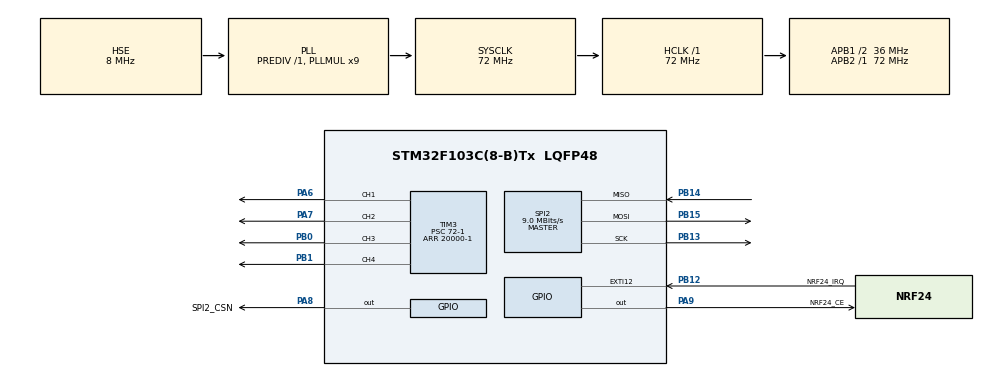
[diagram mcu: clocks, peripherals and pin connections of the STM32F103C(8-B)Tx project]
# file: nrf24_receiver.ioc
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Mcu.Family=STM32F1
Mcu.Name=STM32F103C(8-B)Tx
Mcu.Package=LQFP48
NVIC.EXTI15_10_IRQn=true\:0\:0\:false\:false\:true\:true\:true\:true
NVIC.PriorityGroup=NVIC_PRIORITYGROUP_4
NVIC.TIM2_IRQn=true\:0\:0\:false\:false\:true\:true\:true\:true
NVIC.TIM3_IRQn=true\:0\:0\:false\:false\:true\:true\:true\:true
PA13.Mode=Serial_Wire
PA13.Signal=SYS_JTMS-SWDIO
PA14.Mode=Serial_Wire
PA14.Signal=SYS_JTCK-SWCLK
PA6.Signal=S_TIM3_CH1
PA7.Signal=S_TIM3_CH2
PA8.GPIO_Label=SPI2_CSN
PA8.Signal=GPIO_Output
PA9.GPIO_Label=NRF24_CE
PA9.Signal=GPIO_Output
PB0.Signal=S_TIM3_CH3
PB1.Signal=S_TIM3_CH4
PB12.GPIO_Label=NRF24_IRQ
PB12.GPIO_ModeDefaultEXTI=GPIO_MODE_IT_FALLING
PB12.Signal=GPXTI12
PB13.Mode=Full_Duplex_Master
PB13.Signal=SPI2_SCK
PB14.Mode=Full_Duplex_Master
PB14.Signal=SPI2_MISO
PB15.Mode=Full_Duplex_Master
PB15.Signal=SPI2_MOSI
PD0-OSC_IN.Mode=HSE-External-Oscillator
PD0-OSC_IN.Signal=RCC_OSC_IN
PD1-OSC_OUT.Mode=HSE-External-Oscillator
PD1-OSC_OUT.Signal=RCC_OSC_OUT
ProjectManager.HeapSize=0x200
ProjectManager.StackSize=0x400
ProjectManager.TargetToolchain=STM32CubeIDE
RCC.AHBFreq_Value=72000000
RCC.APB1CLKDivider=RCC_HCLK_DIV2
RCC.APB1Freq_Value=36000000
RCC.APB1TimFreq_Value=72000000
RCC.APB2Freq_Value=72000000
RCC.APB2TimFreq_Value=72000000
RCC.HCLKFreq_Value=72000000
RCC.PLLMUL=RCC_PLL_MUL9
RCC.PLLSourceVirtual=RCC_PLLSOURCE_HSE
RCC.SYSCLKFreq_VALUE=72000000
RCC.SYSCLKSource=RCC_SYSCLKSOURCE_PLLCLK
RCC.USBFreq_Value=72000000
SH.S_TIM3_CH1.0=TIM3_CH1,PWM Generation1 CH1
SH.S_TIM3_CH2.0=TIM3_CH2,PWM Generation2 CH2
SH.S_TIM3_CH3.0=TIM3_CH3,PWM Generation3 CH3
SH.S_TIM3_CH4.0=TIM3_CH4,PWM Generation4 CH4
SPI2.BaudRatePrescaler=SPI_BAUDRATEPRESCALER_4
SPI2.CalculateBaudRate=9.0 MBits/s
SPI2.Direction=SPI_DIRECTION_2LINES
SPI2.Mode=SPI_MODE_MASTER
SPI2.VirtualType=VM_MASTER
TIM2.Period=4000-1
TIM2.Prescaler=72-1
TIM3.Channel-PWM\ Generation1\ CH1=TIM_CHANNEL_1
TIM3.Channel-PWM\ Generation2\ CH2=TIM_CHANNEL_2
TIM3.Channel-PWM\ Generation3\ CH3=TIM_CHANNEL_3
TIM3.Channel-PWM\ Generation4\ CH4=TIM_CHANNEL_4
TIM3.Period=20000-1
TIM3.Prescaler=72-1
VP_TIM2_VS_ClockSourceINT.Mode=Internal
board=custom

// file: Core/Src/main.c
/* USER CODE BEGIN Header */
/**
  ******************************************************************************
  * @file           : main.c
  * @brief          : Main program body
  ******************************************************************************
  * @attention
  *
  * Copyright (c) 2025 STMicroelectronics.
  * All rights reserved.
  *
  * This software is licensed under terms that can be found in the LICENSE file
  * in the root directory of this software component.
  * If no LICENSE file comes with this software, it is provided AS-IS.
  *
  ******************************************************************************
  */
/* USER CODE END Header */
#include "main.h"
#include "spi.h"
#include "tim.h"
#include "gpio.h"

/* USER CODE BEGIN Includes */
#include "nrf24.h"
/* USER CODE END Includes */

/* USER CODE BEGIN PV */
static uint8_t rxSerialized[32];
static uint32_t time;
static uint32_t lastTick;
static volatile uint32_t packets_received;
/* USER CODE END PV */

void SystemClock_Config(void);
/* USER CODE BEGIN PFP */
uint16_t ComputePulseWidth(uint16_t adcVal, uint16_t min, uint16_t max);
/* USER CODE END PFP */

int main(void)
{

  /* MCU Configuration--------------------------------------------------------*/

  /* Reset of all peripherals, Initializes the Flash interface and the Systick. */
  HAL_Init();

  /* Configure the system clock */
  SystemClock_Config();

  /* Initialize all configured peripherals */
  MX_GPIO_Init();
  MX_SPI2_Init();
  MX_TIM2_Init();
  MX_TIM3_Init();
  /* USER CODE BEGIN 2 */
  TIM3->CCR1 = 1500;
  TIM3->CCR2 = 1500;
  TIM3->CCR3 = 0;
  TIM3->CCR4 = 1500;
  HAL_TIM_PWM_Start(&htim3, TIM_CHANNEL_1);
  HAL_TIM_PWM_Start(&htim3, TIM_CHANNEL_2);
  HAL_TIM_PWM_Start(&htim3, TIM_CHANNEL_3);
  HAL_TIM_PWM_Start(&htim3, TIM_CHANNEL_4);
  NRF24_Init(1);
  uint8_t config = NRF24_ReadReg(NRF24_REG_CONFIG);
  uint8_t status = NRF24_ReadReg(NRF24_REG_STATUS);
  uint8_t ch = NRF24_ReadReg(NRF24_REG_RF_CH);
  uint8_t pw = NRF24_ReadReg(NRF24_REG_RX_PW_P0);
  uint8_t addr[5];
  for(int i = 0; i<5; i++) addr[i] = NRF24_ReadReg(NRF24_REG_RX_ADDR_P0);
  for(int i = 0; i<32; i++) rxSerialized[i] = 0xFF;
  NRF24_WriteReg(NRF24_REG_STATUS, NRF24_RX_DR | NRF24_TX_DS | NRF24_MAX_RT);
  NRF24_Receive_IT(rxSerialized);
  HAL_TIM_Base_Start_IT(&htim3);
  /* USER CODE END 2 */

  /* Infinite loop */
  while (1)
  {

    /* USER CODE BEGIN 3 */
	  volatile uint32_t packets = packets_received;
		//Control values deserialized MSB first
		volatile uint16_t aileron_t = ((uint16_t)rxSerialized[4] << 8) + rxSerialized[5];
		volatile uint16_t elevator_t = ((uint16_t)rxSerialized[6] << 8) + rxSerialized[7];
		volatile uint16_t throttle_t = ((uint16_t)rxSerialized[8] << 8) + rxSerialized[9];
		volatile uint16_t rudder_t = ((uint16_t)rxSerialized[10] << 8) + rxSerialized[11];
		volatile uint32_t ccr1 = ComputePulseWidth(aileron_t, 500, 2500);
		volatile uint32_t ccr2 = ComputePulseWidth(elevator_t, 500, 2500);
		volatile uint32_t ccr3 = ComputePulseWidth(throttle_t, 500, 2500);
		volatile uint32_t ccr4 = ComputePulseWidth(rudder_t, 500, 2500);
  }
  /* USER CODE END 3 */
}

void SystemClock_Config(void)
{
  RCC_OscInitTypeDef RCC_OscInitStruct = {0};
  RCC_ClkInitTypeDef RCC_ClkInitStruct = {0};

  /** Initializes the RCC Oscillators according to the specified parameters
  * in the RCC_OscInitTypeDef structure.
  */
  RCC_OscInitStruct.OscillatorType = RCC_OSCILLATORTYPE_HSE;
  RCC_OscInitStruct.HSEState = RCC_HSE_ON;
  RCC_OscInitStruct.HSEPredivValue = RCC_HSE_PREDIV_DIV1;
  RCC_OscInitStruct.HSIState = RCC_HSI_ON;
  RCC_OscInitStruct.PLL.PLLState = RCC_PLL_ON;
  RCC_OscInitStruct.PLL.PLLSource = RCC_PLLSOURCE_HSE;
  RCC_OscInitStruct.PLL.PLLMUL = RCC_PLL_MUL9;
  if (HAL_RCC_OscConfig(&RCC_OscInitStruct) != HAL_OK)
  {
    Error_Handler();
  }

  /** Initializes the CPU, AHB and APB buses clocks
  */
  RCC_ClkInitStruct.ClockType = RCC_CLOCKTYPE_HCLK|RCC_CLOCKTYPE_SYSCLK
                              |RCC_CLOCKTYPE_PCLK1|RCC_CLOCKTYPE_PCLK2;
  RCC_ClkInitStruct.SYSCLKSource = RCC_SYSCLKSOURCE_PLLCLK;
  RCC_ClkInitStruct.AHBCLKDivider = RCC_SYSCLK_DIV1;
  RCC_ClkInitStruct.APB1CLKDivider = RCC_HCLK_DIV2;
  RCC_ClkInitStruct.APB2CLKDivider = RCC_HCLK_DIV1;

  if (HAL_RCC_ClockConfig(&RCC_ClkInitStruct, FLASH_LATENCY_2) != HAL_OK)
  {
    Error_Handler();
  }
}

/* USER CODE BEGIN 4 */
void HAL_TIM_PeriodElapsedCallback(TIM_HandleTypeDef *htim)
{
    if (htim->Instance == TIM3) {
        // If no new packets for 500ms, set control surfaces to middle, turn off throttle
    	if(HAL_GetTick() - lastTick >= 500){
    		uint16_t aileron = 2048;
    		uint16_t elevator = 2048;
    		uint16_t throttle = 0;
    		uint16_t rudder = 2048;
    		TIM3->CCR1 = ComputePulseWidth(aileron, 500, 2500);
    		TIM3->CCR2 = ComputePulseWidth(elevator, 500, 2500);
    		TIM3->CCR3 = ComputePulseWidth(throttle, 500, 2500);
    		TIM3->CCR4 = ComputePulseWidth(rudder, 500, 2500);
    	}
    }
}
void HAL_GPIO_EXTI_Callback(uint16_t GPIO_Pin) {
    if (GPIO_Pin == NRF24_IRQ_Pin) {
        // NRF24 IRQ triggered (falling edge)
    	NRF24_Receive_IT(rxSerialized);
    	packets_received++;
    	lastTick = HAL_GetTick();
		//Time deserialized MSB first
		time =
			(rxSerialized[0] << 24) +
			(rxSerialized[1] << 16) +
			(rxSerialized[2] << 8)	+
			(rxSerialized[3] << 0);
		//Control values deserialized MSB first
		uint16_t aileron = ((uint16_t)rxSerialized[4] << 8) + rxSerialized[5];
		uint16_t elevator = ((uint16_t)rxSerialized[6] << 8) + rxSerialized[7];
		uint16_t throttle = ((uint16_t)rxSerialized[8] << 8) + rxSerialized[9];
		uint16_t rudder = ((uint16_t)rxSerialized[10] << 8) + rxSerialized[11];
		TIM3->CCR1 = ComputePulseWidth(aileron, 1300, 1700);
		TIM3->CCR2 = ComputePulseWidth(elevator, 1100, 1900);
		TIM3->CCR3 = ComputePulseWidth(throttle, 1100, 1940);
		TIM3->CCR4 = ComputePulseWidth(rudder, 1100, 1900);
    }
}
uint16_t ComputePulseWidth(uint16_t adcVal, uint16_t min, uint16_t max){
	if(min > max || adcVal > 4095) return 1500;
	uint16_t pulse = (((uint32_t)adcVal * (max-min)) >> 12) + min;
	return pulse;
}
/* USER CODE END 4 */

void Error_Handler(void)
{
  __disable_irq();
  while (1)
  {
  }
}
